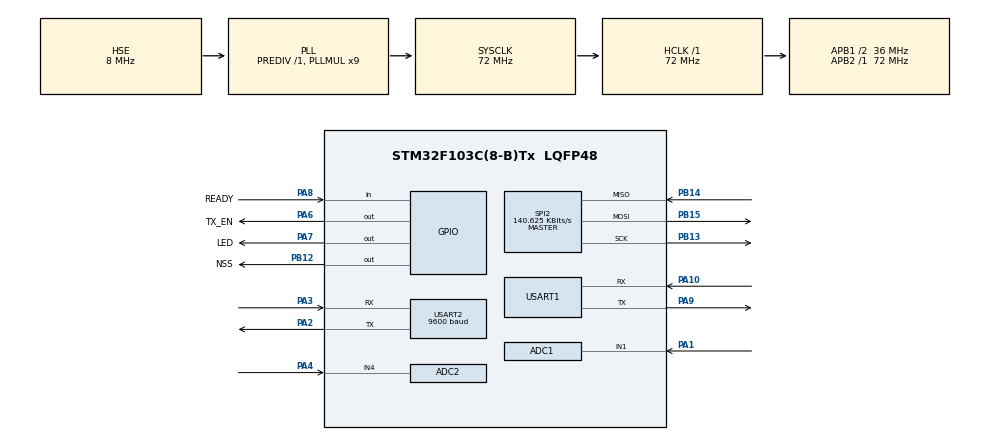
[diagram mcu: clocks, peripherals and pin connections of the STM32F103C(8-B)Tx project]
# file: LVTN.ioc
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ADC1.Channel-0\#ChannelRegularConversion=ADC_CHANNEL_1
ADC1.ContinuousConvMode=ENABLE
ADC1.NbrOfConversion=1
ADC1.NbrOfConversionFlag=1
ADC1.Rank-0\#ChannelRegularConversion=1
ADC1.SamplingTime-0\#ChannelRegularConversion=ADC_SAMPLETIME_1CYCLE_5
ADC1.master=1
ADC2.Channel-0\#ChannelRegularConversion=ADC_CHANNEL_4
ADC2.ContinuousConvMode=ENABLE
ADC2.NbrOfConversionFlag=1
ADC2.Rank-0\#ChannelRegularConversion=1
ADC2.SamplingTime-0\#ChannelRegularConversion=ADC_SAMPLETIME_1CYCLE_5
FREERTOS.Tasks01=defaultTask,24,128,StartDefaultTask,Default,NULL,Dynamic,NULL,NULL
Mcu.Family=STM32F1
Mcu.Name=STM32F103C(8-B)Tx
Mcu.Package=LQFP48
NVIC.PriorityGroup=NVIC_PRIORITYGROUP_4
NVIC.USART1_IRQn=true\:5\:0\:false\:false\:true\:true\:true\:true\:true
NVIC.USART2_IRQn=true\:5\:0\:false\:false\:true\:true\:true\:true\:true
PA1.Signal=ADCx_IN1
PA10.Mode=Asynchronous
PA10.Signal=USART1_RX
PA13.Mode=Serial_Wire
PA13.Signal=SYS_JTMS-SWDIO
PA14.Mode=Serial_Wire
PA14.Signal=SYS_JTCK-SWCLK
PA2.Mode=Asynchronous
PA2.Signal=USART2_TX
PA3.Mode=Asynchronous
PA3.Signal=USART2_RX
PA4.Signal=ADCx_IN4
PA6.GPIO_Label=TX_EN
PA6.Signal=GPIO_Output
PA7.GPIO_Label=LED
PA7.Signal=GPIO_Output
PA8.GPIO_Label=READY
PA8.Signal=GPIO_Input
PA9.Mode=Asynchronous
PA9.Signal=USART1_TX
PB12.GPIO_Label=NSS
PB12.Signal=GPIO_Output
PB13.Mode=Full_Duplex_Master
PB13.Signal=SPI2_SCK
PB14.Mode=Full_Duplex_Master
PB14.Signal=SPI2_MISO
PB15.Mode=Full_Duplex_Master
PB15.Signal=SPI2_MOSI
PD0-OSC_IN.Mode=HSE-External-Oscillator
PD0-OSC_IN.Signal=RCC_OSC_IN
PD1-OSC_OUT.Mode=HSE-External-Oscillator
PD1-OSC_OUT.Signal=RCC_OSC_OUT
ProjectManager.HeapSize=0x200
ProjectManager.StackSize=0x400
ProjectManager.TargetToolchain=STM32CubeIDE
RCC.ADCPresc=RCC_ADCPCLK2_DIV6
RCC.AHBFreq_Value=72000000
RCC.APB1CLKDivider=RCC_HCLK_DIV2
RCC.APB1Freq_Value=36000000
RCC.APB1TimFreq_Value=72000000
RCC.APB2Freq_Value=72000000
RCC.APB2TimFreq_Value=72000000
RCC.HCLKFreq_Value=72000000
RCC.PLLMUL=RCC_PLL_MUL9
RCC.PLLSourceVirtual=RCC_PLLSOURCE_HSE
RCC.SYSCLKFreq_VALUE=72000000
RCC.SYSCLKSource=RCC_SYSCLKSOURCE_PLLCLK
RCC.USBFreq_Value=72000000
SH.ADCx_IN1.0=ADC1_IN1,IN1
SH.ADCx_IN4.0=ADC2_IN4,IN4
SPI2.BaudRatePrescaler=SPI_BAUDRATEPRESCALER_256
SPI2.CalculateBaudRate=140.625 KBits/s
SPI2.Direction=SPI_DIRECTION_2LINES
SPI2.Mode=SPI_MODE_MASTER
SPI2.VirtualType=VM_MASTER
USART1.VirtualMode=VM_ASYNC
USART2.BaudRate=9600
USART2.VirtualMode=VM_ASYNC
VP_FREERTOS_VS_CMSIS_V2.Mode=CMSIS_V2
board=custom

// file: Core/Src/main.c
/* USER CODE BEGIN Header */
/**
  ******************************************************************************
  * @file           : main.c
  * @brief          : Main program body
  ******************************************************************************
  * @attention
  *
  * Copyright (c) 2022 STMicroelectronics.
  * All rights reserved.
  *
  * This software is licensed under terms that can be found in the LICENSE file
  * in the root directory of this software component.
  * If no LICENSE file comes with this software, it is provided AS-IS.
  *
  ******************************************************************************
  */
/* USER CODE END Header */
#include "main.h"
#include "cmsis_os.h"
#include <math.h>
/* USER CODE BEGIN Includes */
#include "semphr.h"
#include "Modbus.h"
#include "ModbusRegister.h"
#include "MAX31865.h"
/* USER CODE END Includes */

 ADC_HandleTypeDef hadc1;
ADC_HandleTypeDef hadc2;

SPI_HandleTypeDef hspi2;

UART_HandleTypeDef huart1;
UART_HandleTypeDef huart2;

/* Definitions for defaultTask */
osThreadId_t defaultTaskHandle;
const osThreadAttr_t defaultTask_attributes = {
  .name = "defaultTask",
  .stack_size = 128 * 4,
  .priority = (osPriority_t) osPriorityNormal,
};
/* USER CODE BEGIN PV */
modbusHandler_t ModbusH;
Modbus_Register Register;
/* USER CODE END PV */

void SystemClock_Config(void);
static void MX_GPIO_Init(void);
static void MX_USART1_UART_Init(void);
static void MX_USART2_UART_Init(void);
static void MX_ADC1_Init(void);
static void MX_ADC2_Init(void);
static void MX_SPI2_Init(void);
void StartDefaultTask(void *argument);

int main(void)
{

  /* MCU Configuration--------------------------------------------------------*/

  /* Reset of all peripherals, Initializes the Flash interface and the Systick. */
  HAL_Init();

  /* Configure the system clock */
  SystemClock_Config();

  /* Initialize all configured peripherals */
  MX_GPIO_Init();
  MX_USART1_UART_Init();
  MX_USART2_UART_Init();
  MX_ADC1_Init();
  MX_ADC2_Init();
  MX_SPI2_Init();
  /* USER CODE BEGIN 2 */
  ModbusH.uModbusType = MB_SLAVE;
  ModbusH.port =  &huart2;
  ModbusH.u8id = 17; //Modbus slave ID
  ModbusH.u16timeOut = 2000;
  ModbusH.EN_Port = TX_EN_GPIO_Port;
  ModbusH.EN_Pin = TX_EN_Pin;
  ModbusH.u16regs = (uint16_t *) &Register;
  ModbusH.u16regsize= sizeof(Register)/(sizeof(uint16_t));
  ModbusH.xTypeHW = USART_HW;
  //Initialize Modbus library
  ModbusInit(&ModbusH);
  //Start capturing traffic on serial Port
  ModbusStart(&ModbusH);

  //Config ADC
  HAL_ADC_Start(&hadc1);
  HAL_GPIO_WritePin(LED_GPIO_Port,LED_Pin,1);
  //Config SPI

  HAL_GPIO_WritePin(NSS_GPIO_Port, NSS_Pin, 0);
  uint8_t testcode[] =  {0x80U,0xD2U};
   HAL_SPI_Transmit(&hspi2, testcode,2,600);
   HAL_GPIO_WritePin(NSS_GPIO_Port, NSS_Pin, 1);
   osDelay(500);
  /* USER CODE END 2 */

  /* Init scheduler */
  osKernelInitialize();

  /* Create the thread(s) */
  /* creation of defaultTask */
  defaultTaskHandle = osThreadNew(StartDefaultTask, NULL, &defaultTask_attributes);

  /* Start scheduler */
  osKernelStart();

  /* We should never get here as control is now taken by the scheduler */
  /* Infinite loop */
  while (1)
  {

  }
}

void SystemClock_Config(void)
{
  RCC_OscInitTypeDef RCC_OscInitStruct = {0};
  RCC_ClkInitTypeDef RCC_ClkInitStruct = {0};
  RCC_PeriphCLKInitTypeDef PeriphClkInit = {0};

  /** Initializes the RCC Oscillators according to the specified parameters
  * in the RCC_OscInitTypeDef structure.
  */
  RCC_OscInitStruct.OscillatorType = RCC_OSCILLATORTYPE_HSE;
  RCC_OscInitStruct.HSEState = RCC_HSE_ON;
  RCC_OscInitStruct.HSEPredivValue = RCC_HSE_PREDIV_DIV1;
  RCC_OscInitStruct.HSIState = RCC_HSI_ON;
  RCC_OscInitStruct.PLL.PLLState = RCC_PLL_ON;
  RCC_OscInitStruct.PLL.PLLSource = RCC_PLLSOURCE_HSE;
  RCC_OscInitStruct.PLL.PLLMUL = RCC_PLL_MUL9;
  if (HAL_RCC_OscConfig(&RCC_OscInitStruct) != HAL_OK)
  {
    Error_Handler();
  }

  /** Initializes the CPU, AHB and APB buses clocks
  */
  RCC_ClkInitStruct.ClockType = RCC_CLOCKTYPE_HCLK|RCC_CLOCKTYPE_SYSCLK
                              |RCC_CLOCKTYPE_PCLK1|RCC_CLOCKTYPE_PCLK2;
  RCC_ClkInitStruct.SYSCLKSource = RCC_SYSCLKSOURCE_PLLCLK;
  RCC_ClkInitStruct.AHBCLKDivider = RCC_SYSCLK_DIV1;
  RCC_ClkInitStruct.APB1CLKDivider = RCC_HCLK_DIV2;
  RCC_ClkInitStruct.APB2CLKDivider = RCC_HCLK_DIV1;

  if (HAL_RCC_ClockConfig(&RCC_ClkInitStruct, FLASH_LATENCY_2) != HAL_OK)
  {
    Error_Handler();
  }
  PeriphClkInit.PeriphClockSelection = RCC_PERIPHCLK_ADC;
  PeriphClkInit.AdcClockSelection = RCC_ADCPCLK2_DIV6;
  if (HAL_RCCEx_PeriphCLKConfig(&PeriphClkInit) != HAL_OK)
  {
    Error_Handler();
  }
}

static void MX_ADC1_Init(void)
{

  ADC_ChannelConfTypeDef sConfig = {0};

  /** Common config
  */
  hadc1.Instance = ADC1;
  hadc1.Init.ScanConvMode = ADC_SCAN_DISABLE;
  hadc1.Init.ContinuousConvMode = ENABLE;
  hadc1.Init.DiscontinuousConvMode = DISABLE;
  hadc1.Init.ExternalTrigConv = ADC_SOFTWARE_START;
  hadc1.Init.DataAlign = ADC_DATAALIGN_RIGHT;
  hadc1.Init.NbrOfConversion = 1;
  if (HAL_ADC_Init(&hadc1) != HAL_OK)
  {
    Error_Handler();
  }

  /** Configure Regular Channel
  */
  sConfig.Channel = ADC_CHANNEL_1;
  sConfig.Rank = ADC_REGULAR_RANK_1;
  sConfig.SamplingTime = ADC_SAMPLETIME_1CYCLE_5;
  if (HAL_ADC_ConfigChannel(&hadc1, &sConfig) != HAL_OK)
  {
    Error_Handler();
  }

}

static void MX_ADC2_Init(void)
{

  ADC_ChannelConfTypeDef sConfig = {0};

  /** Common config
  */
  hadc2.Instance = ADC2;
  hadc2.Init.ScanConvMode = ADC_SCAN_DISABLE;
  hadc2.Init.ContinuousConvMode = ENABLE;
  hadc2.Init.DiscontinuousConvMode = DISABLE;
  hadc2.Init.ExternalTrigConv = ADC_SOFTWARE_START;
  hadc2.Init.DataAlign = ADC_DATAALIGN_RIGHT;
  hadc2.Init.NbrOfConversion = 1;
  if (HAL_ADC_Init(&hadc2) != HAL_OK)
  {
    Error_Handler();
  }

  /** Configure Regular Channel
  */
  sConfig.Channel = ADC_CHANNEL_4;
  sConfig.Rank = ADC_REGULAR_RANK_1;
  sConfig.SamplingTime = ADC_SAMPLETIME_1CYCLE_5;
  if (HAL_ADC_ConfigChannel(&hadc2, &sConfig) != HAL_OK)
  {
    Error_Handler();
  }

}

static void MX_SPI2_Init(void)
{

  /* SPI2 parameter configuration*/
  hspi2.Instance = SPI2;
  hspi2.Init.Mode = SPI_MODE_MASTER;
  hspi2.Init.Direction = SPI_DIRECTION_2LINES;
  hspi2.Init.DataSize = SPI_DATASIZE_8BIT;
  hspi2.Init.CLKPolarity = SPI_POLARITY_LOW;
  hspi2.Init.CLKPhase = SPI_PHASE_1EDGE;
  hspi2.Init.NSS = SPI_NSS_SOFT;
  hspi2.Init.BaudRatePrescaler = SPI_BAUDRATEPRESCALER_256;
  hspi2.Init.FirstBit = SPI_FIRSTBIT_MSB;
  hspi2.Init.TIMode = SPI_TIMODE_DISABLE;
  hspi2.Init.CRCCalculation = SPI_CRCCALCULATION_DISABLE;
  hspi2.Init.CRCPolynomial = 10;
  if (HAL_SPI_Init(&hspi2) != HAL_OK)
  {
    Error_Handler();
  }

}

static void MX_USART1_UART_Init(void)
{

  huart1.Instance = USART1;
  huart1.Init.BaudRate = 115200;
  huart1.Init.WordLength = UART_WORDLENGTH_8B;
  huart1.Init.StopBits = UART_STOPBITS_1;
  huart1.Init.Parity = UART_PARITY_NONE;
  huart1.Init.Mode = UART_MODE_TX_RX;
  huart1.Init.HwFlowCtl = UART_HWCONTROL_NONE;
  huart1.Init.OverSampling = UART_OVERSAMPLING_16;
  if (HAL_UART_Init(&huart1) != HAL_OK)
  {
    Error_Handler();
  }

}

static void MX_USART2_UART_Init(void)
{

  huart2.Instance = USART2;
  huart2.Init.BaudRate = 9600;
  huart2.Init.WordLength = UART_WORDLENGTH_8B;
  huart2.Init.StopBits = UART_STOPBITS_1;
  huart2.Init.Parity = UART_PARITY_NONE;
  huart2.Init.Mode = UART_MODE_TX_RX;
  huart2.Init.HwFlowCtl = UART_HWCONTROL_NONE;
  huart2.Init.OverSampling = UART_OVERSAMPLING_16;
  if (HAL_UART_Init(&huart2) != HAL_OK)
  {
    Error_Handler();
  }

}

static void MX_GPIO_Init(void)
{
  GPIO_InitTypeDef GPIO_InitStruct = {0};

  /* GPIO Ports Clock Enable */
  __HAL_RCC_GPIOD_CLK_ENABLE();
  __HAL_RCC_GPIOA_CLK_ENABLE();
  __HAL_RCC_GPIOB_CLK_ENABLE();

  /*Configure GPIO pin Output Level */
  HAL_GPIO_WritePin(GPIOA, TX_EN_Pin|LED_Pin, GPIO_PIN_RESET);

  /*Configure GPIO pin Output Level */
  HAL_GPIO_WritePin(NSS_GPIO_Port, NSS_Pin, GPIO_PIN_RESET);

  /*Configure GPIO pins : TX_EN_Pin LED_Pin */
  GPIO_InitStruct.Pin = TX_EN_Pin|LED_Pin;
  GPIO_InitStruct.Mode = GPIO_MODE_OUTPUT_PP;
  GPIO_InitStruct.Pull = GPIO_NOPULL;
  GPIO_InitStruct.Speed = GPIO_SPEED_FREQ_LOW;
  HAL_GPIO_Init(GPIOA, &GPIO_InitStruct);

  /*Configure GPIO pin : NSS_Pin */
  GPIO_InitStruct.Pin = NSS_Pin;
  GPIO_InitStruct.Mode = GPIO_MODE_OUTPUT_PP;
  GPIO_InitStruct.Pull = GPIO_NOPULL;
  GPIO_InitStruct.Speed = GPIO_SPEED_FREQ_LOW;
  HAL_GPIO_Init(NSS_GPIO_Port, &GPIO_InitStruct);

  /*Configure GPIO pin : READY_Pin */
  GPIO_InitStruct.Pin = READY_Pin;
  GPIO_InitStruct.Mode = GPIO_MODE_INPUT;
  GPIO_InitStruct.Pull = GPIO_NOPULL;
  HAL_GPIO_Init(READY_GPIO_Port, &GPIO_InitStruct);

}

void StartDefaultTask(void *argument)
{
  /* USER CODE BEGIN 5 */
  /* Infinite loop */
  for(;;)
  {
	  xSemaphoreTake(ModbusH.ModBusSphrHandle , 100);
	  Register.ADC = HAL_ADC_GetValue(&hadc1);

	  if(!HAL_GPIO_ReadPin(READY_GPIO_Port, READY_Pin)){
		  HAL_GPIO_TogglePin(LED_GPIO_Port,LED_Pin);
	  HAL_GPIO_WritePin(NSS_GPIO_Port, NSS_Pin, 0);
	  uint8_t test1[] = {0x00U};
	  uint8_t data[8];
	  MAX31865 rdata;
	  HAL_SPI_Transmit(&hspi2, test1, 1, 60);
		for(int i = 0; i < 8; i++)
		{
			HAL_SPI_Receive(&hspi2, &data[i], 1, 60);
		}
	HAL_UART_Transmit(&huart1, (uint8_t *)data, sizeof(data), 1000);
	float alpha = 0.00385055;
	rdata.dataframe[0] = data[2];
	rdata.dataframe[1] = data[1];
	Register.RSPI1 = ((float) (rdata.adc * 430 / pow(2,15))/100 - 1)/alpha;
	  HAL_GPIO_WritePin(NSS_GPIO_Port, NSS_Pin, 1);
	  }
	  xSemaphoreGive(ModbusH.ModBusSphrHandle);
    osDelay(1000);
  }
  /* USER CODE END 5 */
}

void Error_Handler(void)
{
  __disable_irq();
  while (1)
  {
  }
}
